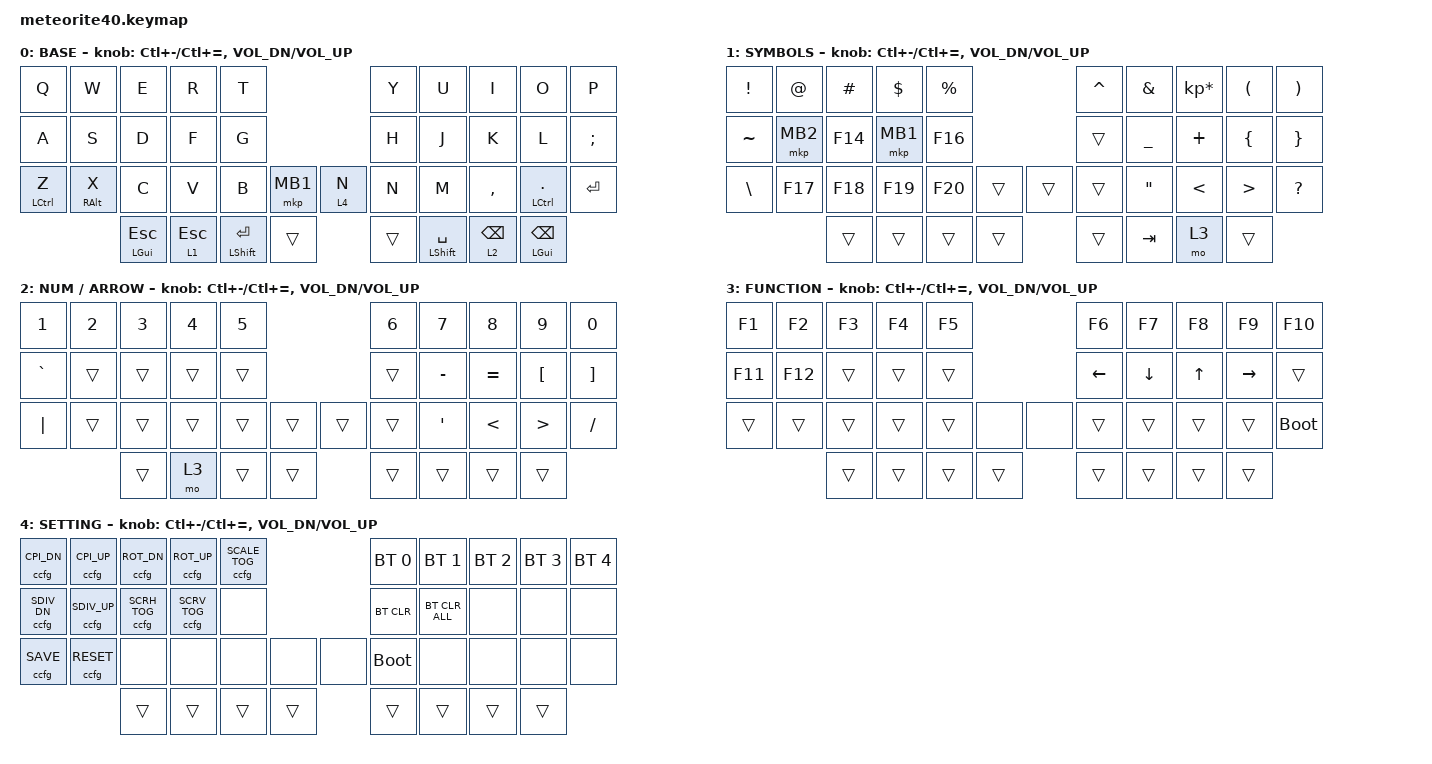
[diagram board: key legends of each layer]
#include <behaviors.dtsi>
#include <dt-bindings/zmk/bt.h>
#include <dt-bindings/zmk/keys.h>
#include <behaviors/custom_config.dtsi>
#include <dt-bindings/zmk/custom_config.h>

#define ZMK_POINTING_DEFAULT_SCRL_VAL 200
#include <dt-bindings/zmk/pointing.h>

&mt { 
    flavor = "hold-preferred"; // change hold to tap
    tapping-term-ms = <150>;
    quick-tap-ms = <125>; // change 200 to 150
};

&lt {
    flavor = "hold-preferred";
    tapping-term-ms = <150>; // change 200 to 150
    quick-tap-ms = <125>; // change 200 to 150
};

/ { 
    behaviors {
        mouse_scroll: mouse_wheel {
            compatible = "zmk,behavior-sensor-rotate-var";
            #sensor-binding-cells = <2>;
            bindings = <&msc>, <&msc>;
            tap-ms = <25>;
        };
        ss: space_and_shift {
            compatible = "zmk,behavior-hold-tap";
            label = "SPACE_AND_SHIFT";
            #binding-cells = <2>;
            flavor = "hold-preferred";
            tapping-term-ms = <200>;
            quick-tap-ms = <125>;
            global-quick-tap;
            bindings = <&kp>, <&kp>;
        };
    };

    combos {
        compatible = "zmk,combos";
        
        /* グローバル設定（すべてのコンボに適用されます） */
        timeout-ms = <200>;
        require-prior-idle-ms = <150>;

        lang1 {
            bindings = <&kp LANG1>;
            key-positions = <12 13>; /* D + F */
            layers = <0>;
        };

        lang2 {
            bindings = <&kp LANG2>;
            key-positions = <16 17>; /* J + K */
            layers = <0>;
        };

        cmd {
            bindings = <&sk LGUI>;
            key-positions = <16 18>; /* J + L */
            layers = <0>;
        };

        esc {
            bindings = <&kp ESCAPE>;
            key-positions = <0 1>; /* Q + W */
            layers = <0>;
        };

        home {
            bindings = <&kp HOME>;
            key-positions = <16 17>; /* J + K (on layer 2) */
            layers = <2>;
        };

        end {
            bindings = <&kp END>;
            key-positions = <18 19>; /* L + ; (on layer 2) */
            layers = <2>;
        };

        ctrl_home {
            bindings = <&kp LC(HOME)>;
            key-positions = <16 18>; /* J + L (on layer 2) */
            layers = <2>;
        };

        ctrl_end {
            bindings = <&kp LC(END)>;
            key-positions = <17 19>; /* K + ; (on layer 2) */
            layers = <2>;
        };
    };

    keymap {
        compatible = "zmk,keymap";
        layout = &LAYOUT_2U_SPACE;

        win_default_layer {
            display-name = "BASE";
            bindings = <
    &kp Q        &kp W        &kp E         &kp R        &kp T                                     &kp Y        &kp U        &kp I         &kp O          &kp P
    &kp A        &kp S        &kp D         &kp F        &kp G                                     &kp H        &kp J        &kp K         &kp L          &kp SEMI
    &mt LCTRL Z  &mt RALT X   &kp C         &kp V        &kp B               &mkp MB1    &lt 4 N   &kp N        &kp M        &kp COMMA     &mt LCTRL DOT  &kp RET
                              &ss LGUI ESC  &lt 1 ESC    &ss LSHIFT ENTER    &trans      &trans    &ss LSHIFT SPACE    &lt 2 BSPC    &ss LGUI BSPC
            >;

            sensor-bindings = <&inc_dec_kp LC(MINUS) LC(EQUAL)>, <&inc_dec_kp C_VOL_DN C_VOL_UP>;
        };

        layer_1 {
            display-name = "SYMBOLS";
            bindings = <
    &kp EXCL   &kp AT    &kp HASH  &kp DLLR  &kp PRCNT                      &kp CARET  &kp AMPS   &kp KP_MULTIPLY  &kp LPAR  &kp RPAR
    &kp TILDE  &mkp MB2  &kp F14   &mkp MB1  &kp F16                        &trans     &kp UNDER  &kp PLUS         &kp LBRC  &kp RBRC
    &kp BSLH   &kp F17   &kp F18   &kp F19   &kp F20   &trans     &trans    &trans     &kp DQT    &kp LT           &kp GT    &kp QMARK
                         &trans    &trans    &trans    &trans     &trans    &kp TAB    &mo 3      &trans
            >;

            sensor-bindings = <&inc_dec_kp LC(MINUS) LC(EQUAL)>, <&inc_dec_kp C_VOL_DN C_VOL_UP>;
        };

        layer_2 {
            display-name = "NUM / ARROW";
            bindings = <
    &kp N1     &kp N2  &kp N3  &kp N4  &kp N5                          &kp N6         &kp N7         &kp N8         &kp N9        &kp N0 
    &kp GRAVE  &trans  &trans  &trans  &trans                          &trans         &kp MINUS      &kp EQUAL      &kp LBKT      &kp RBKT
    &kp PIPE   &trans  &trans  &trans  &trans  &trans     &trans       &trans         &kp SQT        &kp LT         &kp GT        &kp FSLH
                       &trans  &mo 3   &trans  &trans     &trans       &trans         &trans         &trans
            >;

            sensor-bindings = <&inc_dec_kp LC(MINUS) LC(EQUAL)>, <&inc_dec_kp C_VOL_DN C_VOL_UP>;
        };

        layer_3 {
            display-name = "FUNCTION";
            bindings = <
    &kp F1   &kp F2   &kp F3   &kp F4   &kp F5                   &kp F6     &kp F7    &kp F8   &kp F9     &kp F10
    &kp F11  &kp F12  &trans   &trans   &trans                   &kp LEFT   &kp DOWN  &kp UP   &kp RIGHT  &trans
    &trans   &trans   &trans   &trans   &trans  &none    &none   &trans     &trans    &trans   &trans     &bootloader
                      &trans   &trans   &trans  &trans   &trans  &trans     &trans    &trans
            >;

            sensor-bindings = <&inc_dec_kp LC(MINUS) LC(EQUAL)>, <&inc_dec_kp C_VOL_DN C_VOL_UP>;
        };

        layer_4 {
            display-name = "SETTING";
            bindings = <
    &ccfg C_CPI_DN   &ccfg C_CPI_UP   &ccfg C_ROT_DN   &ccfg C_ROT_UP   &ccfg C_SCALE_TOG                   &bt BT_SEL 0   &bt BT_SEL 1    &bt BT_SEL 2  &bt BT_SEL 3  &bt BT_SEL 4
    &ccfg C_SDIV_DN  &ccfg C_SDIV_UP  &ccfg C_SCRH_TOG  &ccfg C_SCRV_TOG  &none                               &bt BT_CLR     &bt BT_CLR_ALL  &none         &none         &none
    &ccfg C_SAVE     &ccfg C_RESET    &none            &none            &none            &none    &none     &bootloader    &none           &none         &none         &none
                                      &trans           &trans           &trans           &trans   &trans    &trans         &trans          &trans
            >;

            sensor-bindings = <&inc_dec_kp LC(MINUS) LC(EQUAL)>, <&inc_dec_kp C_VOL_DN C_VOL_UP>;
        };
    };
};
